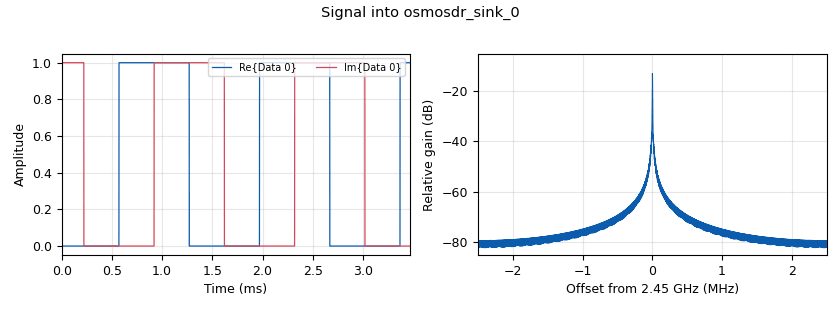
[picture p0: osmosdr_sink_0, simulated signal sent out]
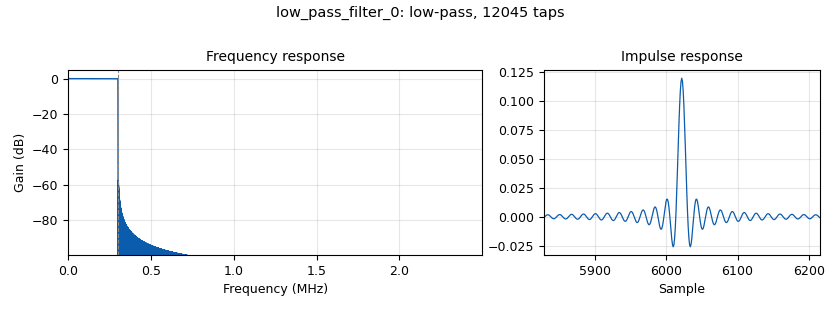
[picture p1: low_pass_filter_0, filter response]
options:
  parameters:
    generate_options: qt_gui
    id: chipenable
    output_language: python
    title: sweeper
  states: {}

blocks:
- name: carrier_freq
  id: variable_qtgui_range
  parameters:
    label: frequency
    orient: Qt.Horizontal
    rangeType: int
    start: '2400000000'
    step: '3'
    stop: '2500000000'
    value: '2450000000'
  states: {}
- name: carrier_freq2
  id: variable
  parameters:
    value: '2465000000'
  states: {}
- name: rx_gain_var
  id: variable_qtgui_range
  parameters:
    label: rx gain
    min_len: '50'
    orient: Qt.Horizontal
    rangeType: int
    start: '10'
    step: '1'
    stop: '45'
    value: '30'
  states: {}
- name: samp_rate
  id: variable
  parameters:
    value: '5000000'
  states: {}
- name: square_test_freq
  id: variable_qtgui_entry
  parameters:
    label: Test Wave Frequency
    type: int
    value: '7000'
  states: {}
- name: tx_gain_var
  id: variable_qtgui_range
  parameters:
    label: tx gain
    min_len: '50'
    orient: Qt.Horizontal
    rangeType: int
    start: '10'
    step: '1'
    stop: '45'
    value: '35'
  states: {}
- name: analog_const_source_x_0
  id: analog_const_source_x
  parameters:
    const: '1'
    type: complex
  states: {state: disabled}
- name: analog_sig_source_x_0
  id: analog_sig_source_x
  parameters:
    amp: '1'
    freq: '1'
    offset: '0'
    phase: '0'
    samp_rate: square_test_freq
    type: complex
    waveform: analog.GR_SQR_WAVE
  states: {}
- name: blocks_complex_to_mag_0
  id: blocks_complex_to_mag
  parameters: {}
  states: {}
- name: blocks_complex_to_mag_squared_0
  id: blocks_complex_to_mag_squared
  parameters: {}
  states: {state: disabled}
- name: blocks_multiply_const_vxx_0
  id: blocks_multiply_const_vxx
  parameters:
    const: '128'
    type: float
  states: {}
- name: dc_blocker_xx_0
  id: dc_blocker_xx
  parameters:
    length: '100'
    long_form: 'True'
    type: ff
  states: {}
- name: low_pass_filter_0
  id: low_pass_filter
  parameters:
    cutoff_freq: '300000'
    decim: '100'
    gain: '1'
    samp_rate: samp_rate
    type: fir_filter_fff
    width: '1000'
    win: firdes.WIN_HAMMING
  states: {}
- name: osmosdr_sink_0
  id: osmosdr_sink
  parameters:
    bb_gain0: '20'
    bw0: '30000'
    freq0: carrier_freq
    gain0: tx_gain_var
    if_gain0: '20'
    sample_rate: samp_rate
    sync: sync
    type: fc32
  states: {}
- name: osmosdr_source_0
  id: osmosdr_source
  parameters:
    bb_gain0: '20'
    bw0: '30000'
    freq0: carrier_freq
    gain0: rx_gain_var
    gain_mode0: 'False'
    if_gain0: '20'
    sample_rate: samp_rate
    sync: sync
    type: fc32
  states: {}
- name: qtgui_freq_sink_x_0
  id: qtgui_freq_sink_x
  parameters:
    bw: samp_rate
    fc: '0'
    fftsize: '1024'
    type: float
    wintype: firdes.WIN_BLACKMAN_hARRIS
  states: {}
- name: qtgui_time_sink_x_0
  id: qtgui_time_sink_x
  parameters:
    autoscale: 'True'
    size: '1024'
    srate: '300000'
    type: float
  states: {}

connections:
- [analog_const_source_x_0, '0', osmosdr_sink_0, '0']
- [analog_sig_source_x_0, '0', osmosdr_sink_0, '0']
- [blocks_complex_to_mag_0, '0', low_pass_filter_0, '0']
- [blocks_multiply_const_vxx_0, '0', qtgui_freq_sink_x_0, '0']
- [blocks_multiply_const_vxx_0, '0', qtgui_time_sink_x_0, '0']
- [dc_blocker_xx_0, '0', blocks_multiply_const_vxx_0, '0']
- [low_pass_filter_0, '0', dc_blocker_xx_0, '0']
- [osmosdr_source_0, '0', blocks_complex_to_mag_0, '0']
- [osmosdr_source_0, '0', blocks_complex_to_mag_squared_0, '0']

metadata:
  file_format: 1
